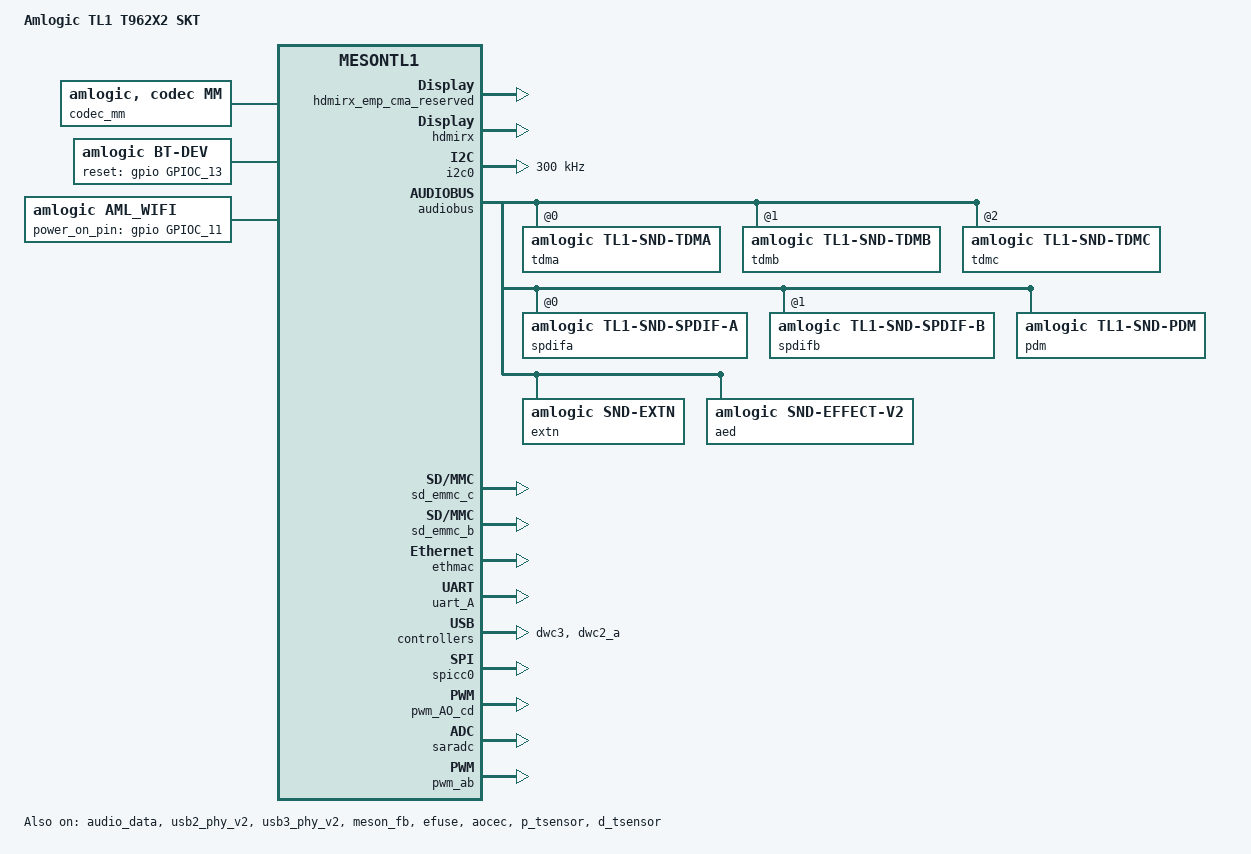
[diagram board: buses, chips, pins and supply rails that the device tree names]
/*
 * arch/arm/boot/dts/amlogic/tl1_t962x2_skt.dts
 *
 * Copyright (C) 2018 Amlogic, Inc. All rights reserved.
 *
 * This program is free software; you can redistribute it and/or modify
 * it under the terms of the GNU General Public License as published by
 * the Free Software Foundation; either version 2 of the License, or
 * (at your option) any later version.
 *
 * This program is distributed in the hope that it will be useful, but WITHOUT
 * ANY WARRANTY; without even the implied warranty of MERCHANTABILITY or
 * FITNESS FOR A PARTICULAR PURPOSE.  See the GNU General Public License for
 * more details.
 *
 */

/dts-v1/;

#include "mesontl1.dtsi"
#include "partition_mbox_normal_P_32.dtsi"
#include "mesontl1_skt-panel.dtsi"

/ {
	model = "Amlogic TL1 T962X2 SKT";
	amlogic-dt-id = "tl1_t962x2_skt";
	compatible = "amlogic, tl1_t962x2_skt";

	aliases {
		serial0 = &uart_AO;
		serial1 = &uart_A;
		serial2 = &uart_B;
		serial3 = &uart_C;
		serial4 = &uart_AO_B;
		tsensor0 = &p_tsensor;
		tsensor1 = &d_tsensor;
		i2c0 = &i2c0;
		i2c1 = &i2c1;
		i2c2 = &i2c2;
		i2c3 = &i2c3;
		i2c4 = &i2c_AO;
	};

	memory@00000000 {
		device_type = "memory";
		linux,usable-memory = <0x100000 0x7ff00000>;
	};

	reserved-memory {
		#address-cells = <1>;
		#size-cells = <1>;
		ranges;
		/* global autoconfigured region for contiguous allocations */
		secmon_reserved: linux,secmon {
			compatible = "shared-dma-pool";
			reusable;
			size = <0x400000>;
			alignment = <0x400000>;
			alloc-ranges = <0x05000000 0x400000>;
		};

		codec_mm_cma:linux,codec_mm_cma {
			compatible = "shared-dma-pool";
			reusable;
			/* ion_codec_mm max can alloc size 80M*/
			size = <0x13400000>;
			alignment = <0x400000>;
			linux,contiguous-region;
			alloc-ranges = <0x12000000 0x13400000>;
		};

		/* codec shared reserved */
		codec_mm_reserved:linux,codec_mm_reserved {
			compatible = "amlogic, codec-mm-reserved";
			size = <0x0>;
			alignment = <0x100000>;
			//no-map;
		};

		logo_reserved:linux,meson-fb {
			compatible = "shared-dma-pool";
			reusable;
			size = <0x800000>;
			alignment = <0x400000>;
			alloc-ranges = <0x7f800000 0x800000>;
		};

		ion_cma_reserved:linux,ion-dev {
			compatible = "shared-dma-pool";
			reusable;
			size = <0x8000000>;
			alignment = <0x400000>;
		};

		/*  vdin0 CMA pool */
		//vdin0_cma_reserved:linux,vdin0_cma {
		//	compatible = "shared-dma-pool";
		//	reusable;
			/* 3840x2160x4x4 ~=128 M */
		//	size = <0xc400000>;
		//	alignment = <0x400000>;
		//};

		/*  vdin1 CMA pool */
		vdin1_cma_reserved:linux,vdin1_cma {
			compatible = "shared-dma-pool";
			reusable;
			/* 1920x1080x2x4  =16 M */
			size = <0x1400000>;
			alignment = <0x400000>;
		};

		/* for hdmi rx emp use */
		hdmirx_emp_cma_reserved:linux,emp_cma {
			compatible = "shared-dma-pool";
			/*linux,phandle = <5>;*/
			reusable;
			/* 4M for emp to ddr */
			/* 32M for tmds to ddr */
			size = <0x2000000>;
			alignment = <0x400000>;
			/* alloc-ranges = <0x400000 0x2000000>; */
		};

		/* POST PROCESS MANAGER */
		ppmgr_reserved:linux,ppmgr {
			compatible = "amlogic, ppmgr_memory";
			size = <0x0>;
		};
	}; /* end of reserved-memory */

	codec_mm {
		compatible = "amlogic, codec, mm";
		status = "okay";
		memory-region = <&codec_mm_cma &codec_mm_reserved>;
	};

	ppmgr {
		compatible = "amlogic, ppmgr";
		memory-region = <&ppmgr_reserved>;
		status = "okay";
	};

	vout {
		compatible = "amlogic, vout";
		status = "okay";
		fr_auto_policy = <0>;
	};

	/* Audio Related start */
	pdm_codec:dummy {
		#sound-dai-cells = <0>;
		compatible = "amlogic, pdm_dummy_codec";
		status = "okay";
	};

	dummy_codec:dummy {
		#sound-dai-cells = <0>;
		compatible = "amlogic, aml_dummy_codec";
		status = "okay";
	};

	tl1_codec:codec {
		#sound-dai-cells = <0>;
		compatible = "amlogic, tl1_acodec";
		status = "disabled";
		reg = <0xff632000 0x1c>;
		tdmout_index = <1>;
	};

	auge_sound {
		compatible = "amlogic, tl1-sound-card";
		aml-audio-card,name = "AML-AUGESOUND";

		aml-audio-card,dai-link@0 {
			format = "i2s";
			mclk-fs = <256>;
			//continuous-clock;
			//bitclock-inversion;
			//frame-inversion;
			/* master mode */
			bitclock-master = <&tdma>;
			frame-master = <&tdma>;
			/* slave mode */
			/*
			 * bitclock-master = <&tdmacodec>;
			 * frame-master = <&tdmacodec>;
			 */
			/* suffix-name, sync with android audio hal used for */
			suffix-name = "alsaPORT-pcm";
			tdmacpu: cpu {
				sound-dai = <&tdma>;
				dai-tdm-slot-tx-mask =
							<1 1>;
				dai-tdm-slot-rx-mask =
							<1 1>;
				dai-tdm-slot-num = <2>;
				dai-tdm-slot-width = <32>;
				system-clock-frequency = <12288000>;
			};
			tdmacodec: codec {
				sound-dai = <&dummy_codec>;
			};
		};

		aml-audio-card,dai-link@1 {
			format = "i2s";
			mclk-fs = <256>;
			//continuous-clock;
			//bitclock-inversion;
			//frame-inversion;
			/* master mode */
			bitclock-master = <&tdmb>;
			frame-master = <&tdmb>;
			/* slave mode */
			//bitclock-master = <&tdmbcodec>;
			//frame-master = <&tdmbcodec>;
			/* suffix-name, sync with android audio hal used for */
			suffix-name = "alsaPORT-i2s";
			cpu {
				sound-dai = <&tdmb>;
				dai-tdm-slot-tx-mask = <1 1>;
				dai-tdm-slot-rx-mask = <1 1>;
				dai-tdm-slot-num = <2>;
				/*
				 * dai-tdm-slot-tx-mask =
				 *	<1 1 1 1 1 1 1 1>;
				 * dai-tdm-slot-rx-mask =
				 *	<1 1 1 1 1 1 1 1>;
				 * dai-tdm-slot-num = <8>;
				 */
				dai-tdm-slot-width = <32>;
				system-clock-frequency = <12288000>;
			};
			tdmbcodec: codec {
				sound-dai = <&dummy_codec>;
			};
		};

		aml-audio-card,dai-link@2 {
			format = "i2s";
			mclk-fs = <256>;
			//continuous-clock;
			//bitclock-inversion;
			//frame-inversion;
			/* master mode */
			bitclock-master = <&tdmc>;
			frame-master = <&tdmc>;
			/* slave mode */
			//bitclock-master = <&tdmccodec>;
			//frame-master = <&tdmccodec>;
			/* suffix-name, sync with android audio hal used for */
			//suffix-name = "alsaPORT-tdm";
			cpu {
				sound-dai = <&tdmc>;
				dai-tdm-slot-tx-mask = <1 1>;
				dai-tdm-slot-rx-mask = <1 1>;
				dai-tdm-slot-num = <2>;
				dai-tdm-slot-width = <32>;
				system-clock-frequency = <12288000>;
			};
			tdmccodec: codec {
				sound-dai = <&dummy_codec>;
			};
		};

		aml-audio-card,dai-link@3 {
			mclk-fs = <64>;
			/* suffix-name, sync with android audio hal used for */
			suffix-name = "alsaPORT-pdm";
			cpu {
				sound-dai = <&pdm>;
			};
			codec {
				sound-dai = <&pdm_codec>;
			};
		};

		aml-audio-card,dai-link@4 {
			mclk-fs = <128>;
			/* suffix-name, sync with android audio hal used for */
			suffix-name = "alsaPORT-spdif";
			cpu {
				sound-dai = <&spdifa>;
				system-clock-frequency = <6144000>;
			};
			codec {
				sound-dai = <&dummy_codec>;
			};
		};

		aml-audio-card,dai-link@5 {
			mclk-fs = <128>;
			cpu {
				sound-dai = <&spdifb>;
				system-clock-frequency = <6144000>;
			};
			codec {
				sound-dai = <&dummy_codec>;
			};
		};

		aml-audio-card,dai-link@6 {
			mclk-fs = <256>;
			cpu {
				sound-dai = <&extn>;
				system-clock-frequency = <12288000>;
			};
			codec {
				sound-dai = <&dummy_codec>;
			};
		};

	};

	/* Audio Related end */
	dvb {
		compatible = "amlogic, dvb";
		status = "okay";
		fe0_mode = "internal";
		fe0_tuner = <&tuner>;

		/*"parallel","serial","disable"*/
		ts2 = "parallel";
		ts2_control = <0>;
		ts2_invert = <0>;
		interrupts = <0 23 1
				0 5 1
				0 53 1
				0 19 1
				0 25 1
				0 17 1>;
		interrupt-names = "demux0_irq",
				"demux1_irq",
				"demux2_irq",
				"dvr0_irq",
				"dvr1_irq",
				"dvr2_irq";
		clocks = <&clkc CLKID_DEMUX
			&clkc CLKID_ASYNC_FIFO
			&clkc CLKID_AHB_ARB0
		/*&clkc CLKID_DOS_PARSER>;*/
		&clkc CLKID_U_PARSER>;
		clock-names = "demux", "asyncfifo", "ahbarb0", "uparsertop";
	};

	tvafe_avin_detect {
		compatible = "amlogic, tl1_tvafe_avin_detect";
		status = "okay";
		device_mask = <1>;/*bit0:ch1;bit1:ch2*/
		interrupts = <0 12 1>,
				<0 13 1>;
	};

	amlvecm {
		compatible = "amlogic, vecm";
		dev_name = "aml_vecm";
		status = "okay";
		gamma_en = <1>;/*1:enabel ;0:disable*/
		wb_en = <1>;/*1:enabel ;0:disable*/
		cm_en = <1>;/*1:enabel ;0:disable*/
		wb_sel = <1>;/*1:mtx ;0:gainoff*/
		vlock_en = <1>;/*1:enable;0:disable*/
		vlock_mode = <0x4>;
		/* vlock work mode:
		 *bit0:auto ENC
		 *bit1:auto PLL
		 *bit2:manual PLL
		 *bit3:manual ENC
		 *bit4:manual soft ENC
		 *bit5:manual MIX PLL ENC
		 */
		 vlock_pll_m_limit = <1>;
		 vlock_line_limit = <3>;
	};

	vdin@0 {
		compatible = "amlogic, vdin";
		/*memory-region = <&vdin0_cma_reserved>;*/
		status = "okay";
		/*bit0:(1:share with codec_mm;0:cma alone)
		 *bit8:(1:alloc in discontinus way;0:alone in continuous way)
		 */
		flag_cma = <0x101>;
		/*MByte, if 10bit disable: 64M(YUV422),
		 *if 10bit enable: 64*1.5 = 96M(YUV422)
		 *if support 4K2K-YUV444-10bit-WR:3840*2160*4*4 ~= 128M
		 *if support 4K2K-YUV422-10bit-wr:3840*2160*3*4 ~= 96M
		 *if support 4K2K-YUV422-8BIT-WR:3840*2160*2*4 ~= 64M
		 *if support 1080p-YUV422-8BIT-WR:1920*1080*2*4 ~= 16M
		 */
		cma_size = <190>;
		interrupts = <0 83 1>;
		rdma-irq = <2>;
		clocks = <&clkc CLKID_FCLK_DIV5>,
			<&clkc CLKID_VDIN_MEAS_COMP>;
		clock-names = "fclk_div5", "cts_vdin_meas_clk";
		vdin_id = <0>;
		/*vdin write mem color depth support:
		 * bit0:support 8bit
		 * bit1:support 9bit
		 * bit2:support 10bit
		 * bit3:support 12bit
		 * bit4:support yuv422 10bit full pack mode (from txl new add)
		 * bit8:use 8bit  at 4k_50/60hz_10bit
		 * bit9:use 10bit at 4k_50/60hz_10bit
		 */
		tv_bit_mode = <0x215>;
		/* afbce_bit_mode: (amlogic frame buff compression encoder)
		 * 0: normal mode, not use afbce
		 * 1: use afbce non-mmu mode
		 * 2: use afbce mmu mode
		 */
		afbce_bit_mode = <0>;
	};

	vdin@1 {
		compatible = "amlogic, vdin";
		memory-region = <&vdin1_cma_reserved>;
		status = "okay";
		/*bit0:(1:share with codec_mm;0:cma alone)
		 *bit8:(1:alloc in discontinus way;0:alone in continuous way)
		 */
		flag_cma = <0>;
		interrupts = <0 85 1>;
		rdma-irq = <4>;
		clocks = <&clkc CLKID_FCLK_DIV5>,
			<&clkc CLKID_VDIN_MEAS_COMP>;
		clock-names = "fclk_div5", "cts_vdin_meas_clk";
		vdin_id = <1>;
		/*vdin write mem color depth support:
		 *bit0:support 8bit
		 *bit1:support 9bit
		 *bit2:support 10bit
		 *bit3:support 12bit
		 */
		tv_bit_mode = <0x15>;
	};

	unifykey {
		compatible = "amlogic, unifykey";
		status = "okay";

		unifykey-num = <19>;
		unifykey-index-0 = <&keysn_0>;
		unifykey-index-1 = <&keysn_1>;
		unifykey-index-2 = <&keysn_2>;
		unifykey-index-3 = <&keysn_3>;
		unifykey-index-4 = <&keysn_4>;
		unifykey-index-5 = <&keysn_5>;
		unifykey-index-6 = <&keysn_6>;
		unifykey-index-7 = <&keysn_7>;
		unifykey-index-8 = <&keysn_8>;
		unifykey-index-9 = <&keysn_9>;
		unifykey-index-10= <&keysn_10>;
		unifykey-index-11 = <&keysn_11>;
		unifykey-index-12 = <&keysn_12>;
		unifykey-index-13 = <&keysn_13>;
		unifykey-index-14 = <&keysn_14>;
		unifykey-index-15 = <&keysn_15>;
		unifykey-index-16 = <&keysn_16>;
		unifykey-index-17 = <&keysn_17>;
		unifykey-index-18 = <&keysn_18>;

		keysn_0: key_0{
			key-name = "usid";
			key-device = "normal";
			key-permit = "read","write","del";
		};
		keysn_1:key_1{
			key-name = "mac";
			key-device  = "normal";
			key-permit = "read","write","del";
		};
		keysn_2:key_2{
			key-name = "hdcp";
			key-device = "secure";
			key-type  = "sha1";
			key-permit = "read","write","del";
		};
		keysn_3:key_3{
			key-name = "secure_boot_set";
			key-device = "efuse";
			key-permit = "write";
		};
		keysn_4:key_4{
			key-name = "mac_bt";
			key-device = "normal";
			key-permit = "read","write","del";
			key-type  = "mac";
		};
		keysn_5:key_5{
			key-name = "mac_wifi";
			key-device = "normal";
			key-permit = "read","write","del";
			key-type  = "mac";
		};
		keysn_6:key_6{
			key-name = "hdcp2_tx";
			key-device = "normal";
			key-permit = "read","write","del";
		};
		keysn_7:key_7{
			key-name = "hdcp2_rx";
			key-device = "normal";
			key-permit = "read","write","del";
		};
		keysn_8:key_8{
			key-name = "widevinekeybox";
			key-device = "secure";
			key-type = "sha1";
			key-permit = "read","write","del";
		};
		keysn_9:key_9{
			key-name = "deviceid";
			key-device = "normal";
			key-permit = "read","write","del";
		};
		keysn_10:key_10{
			key-name = "hdcp22_fw_private";
			key-device = "secure";
			key-permit = "read","write","del";
		};
		keysn_11:key_11{
			key-name = "hdcp22_rx_private";
			key-device = "secure";
			key-permit = "read","write","del";
		};
		keysn_12:key_12{
			key-name = "hdcp22_rx_fw";
			key-device = "normal";
			key-permit = "read","write","del";
		};
		keysn_13:key_13{
			key-name = "hdcp14_rx";
			key-device = "normal";
			key-type  = "sha1";
			key-permit = "read","write","del";
		};
		keysn_14:key_14{
			key-name = "prpubkeybox";// PlayReady
			key-device = "secure";
			key-permit = "read","write","del";
		};
		keysn_15:key_15{
			key-name = "prprivkeybox";// PlayReady
			key-device = "secure";
			key-permit = "read","write","del";
		};
		keysn_16:key_16{
			key-name = "lcd";
			key-device = "normal";
			key-permit = "read","write","del";
		};
		keysn_17:key_17{
			key-name = "lcd_extern";
			key-device = "normal";
			key-permit = "read","write","del";
		};
		keysn_18:key_18{
			key-name = "backlight";
			key-device = "normal";
			key-permit = "read","write","del";
		};
	}; /* End unifykey */

	hdmirx {
		compatible = "amlogic, hdmirx_tl1";
		#address-cells=<1>;
		#size-cells=<1>;
		memory-region = <&hdmirx_emp_cma_reserved>;
		status = "okay";
		pinctrl-names = "default";
		pinctrl-0 = <&hdmirx_a_mux &hdmirx_b_mux
			&hdmirx_c_mux>;
		repeat = <0>;
		interrupts = <0 56 1>;
		clocks = <&clkc CLKID_HDMIRX_MODET_COMP>,
			   <&clkc CLKID_HDMIRX_CFG_COMP>,
			   <&clkc CLKID_HDMIRX_ACR_COMP>,
			   <&clkc CLKID_HDMIRX_METER_COMP>,
			   <&xtal>,
			   <&clkc CLKID_FCLK_DIV5>,
			   <&clkc CLKID_FCLK_DIV7>,
			   <&clkc CLKID_HDCP22_SKP_COMP>,
			   <&clkc CLKID_HDCP22_ESM_COMP>;
		//	   <&clkc CLK_AUD_PLL2FS>,
		//	   <&clkc CLK_AUD_PLL4FS>,
		//	   <&clkc CLK_AUD_OUT>;
		clock-names = "hdmirx_modet_clk",
			"hdmirx_cfg_clk",
				"hdmirx_acr_ref_clk",
				"cts_hdmirx_meter_clk",
				"xtal",
				"fclk_div5",
				"fclk_div7",
				"hdcp_rx22_skp",
				"hdcp_rx22_esm";
		//		"hdmirx_aud_pll2fs",
		//		"hdmirx_aud_pll4f",
		//		"clk_aud_out";
		hdmirx_id = <0>;
		en_4k_2_2k = <0>;
		hpd_low_cec_off = <1>;
		/* bit4: enable feature, bit3~0: port number */
		disable_port = <0x0>;
		/* MAP_ADDR_MODULE_CBUS */
		/* MAP_ADDR_MODULE_HIU */
		/* MAP_ADDR_MODULE_HDMIRX_CAPB3 */
		/* MAP_ADDR_MODULE_SEC_AHB */
		/* MAP_ADDR_MODULE_SEC_AHB2 */
		/* MAP_ADDR_MODULE_APB4 */
		/* MAP_ADDR_MODULE_TOP */
		reg = < 0x0 0x0
			0xff63C000 0x2000
			0xffe0d000 0x2000
			0x0 0x0
			0x0 0x0
			0x0 0x0
			0xff610000 0xa000>;
	};

	aocec: aocec {
		compatible = "amlogic, aocec-tl1";
		/*device_name = "aocec";*/
		status = "okay";
		vendor_name = "Amlogic"; /* Max Chars: 8	 */
		/* Refer to the following URL at:
		 * http://standards.ieee.org/develop/regauth/oui/oui.txt
		 */
		vendor_id = <0x000000>;
		product_desc = "TL1"; /* Max Chars: 16	  */
		cec_osd_string = "AML_TV"; /* Max Chars: 14    */
		port_num = <3>;
		ee_cec;
		arc_port_mask = <0x2>;
		interrupts = <0 205 1
					0 199 1>;
		interrupt-names = "hdmi_aocecb","hdmi_aocec";
		pinctrl-names = "default","hdmitx_aocecb","cec_pin_sleep";
		pinctrl-0=<&aoceca_mux>;
		pinctrl-1=<&aocecb_mux>;
		pinctrl-2=<&aoceca_mux>;
		reg = <0xFF80023c 0x4
			   0xFF800000 0x400>;
		reg-names = "ao_exit","ao";
	};

	p_tsensor: p_tsensor@ff634800 {
		compatible = "amlogic, r1p1-tsensor";
		status = "okay";
		reg = <0xff634800 0x50>,
			<0xff800268 0x4>;
		cal_type = <0x1>;
		cal_a = <324>;
		cal_b = <424>;
		cal_c = <3159>;
		cal_d = <9411>;
		rtemp = <115000>;
		interrupts = <0 35 0>;
		clocks = <&clkc CLKID_TS_CLK_COMP>; /* CLKID_TS_COMP>;*/
		clock-names = "ts_comp";
		#thermal-sensor-cells = <1>;
	};

	d_tsensor: d_tsensor@ff634c00 {
		compatible = "amlogic, r1p1-tsensor";
		status = "okay";
		reg = <0xff634c00 0x50>,
			<0xff800230 0x4>;
		cal_type = <0x1>;
		cal_a = <324>;
		cal_b = <424>;
		cal_c = <3159>;
		cal_d = <9411>;
		rtemp = <115000>;
		interrupts = <0 36 0>;
		clocks = <&clkc CLKID_TS_CLK_COMP>; /* CLKID_TS_COMP>;*/
		clock-names = "ts_comp";
		#thermal-sensor-cells = <1>;
	};

	meson_cooldev: meson-cooldev@0 {
		status = "okay";
		compatible = "amlogic, meson-cooldev";
		cooling_devices {
			cpufreq_cool_cluster0 {
				min_state = <1000000>;
				dyn_coeff = <115>;
				gpu_pp = <2>;
				cluster_id = <0>;
				node_name = "cpufreq_cool0";
				device_type = "cpufreq";
			};
			cpucore_cool_cluster0 {
				min_state = <1>;
				dyn_coeff = <0>;
				gpu_pp = <2>;
				cluster_id = <0>;
				node_name = "cpucore_cool0";
				device_type = "cpucore";
			};
			gpufreq_cool {
				min_state = <400>;
				dyn_coeff = <358>;
				gpu_pp = <2>;
				cluster_id = <0>;
				node_name = "gpufreq_cool0";
				device_type = "gpufreq";
			};
			gpucore_cool {
				min_state = <1>;
				dyn_coeff = <0>;
				gpu_pp = <2>;
				cluster_id = <0>;
				node_name = "gpucore_cool0";
				device_type = "gpucore";
			};
		};
		cpufreq_cool0:cpufreq_cool0 {
			#cooling-cells = <2>; /* min followed by max */
		};
		cpucore_cool0:cpucore_cool0 {
			#cooling-cells = <2>; /* min followed by max */
		};
		gpufreq_cool0:gpufreq_cool0 {
			#cooling-cells = <2>; /* min followed by max */
		};
		gpucore_cool0:gpucore_cool0 {
			#cooling-cells = <2>; /* min followed by max */
		};
	};/*meson cooling devices end*/

	thermal-zones {
		pll_thermal: pll_thermal {
			polling-delay = <1000>;
			polling-delay-passive = <100>;
			sustainable-power = <1410>;
			thermal-sensors = <&p_tsensor 0>;
			trips {
				pswitch_on: trip-point@0 {
					temperature = <60000>;
					hysteresis = <5000>;
					type = "passive";
				};
				pcontrol: trip-point@1 {
					temperature = <75000>;
					hysteresis = <5000>;
					type = "passive";
				};
				phot: trip-point@2 {
					temperature = <85000>;
					hysteresis = <5000>;
					type = "hot";
				};
				pcritical: trip-point@3 {
					temperature = <110000>;
					hysteresis = <1000>;
					type = "critical";
				};
			};
			cooling-maps {
				cpufreq_cooling_map {
					trip = <&pcontrol>;
					cooling-device = <&cpufreq_cool0 0 4>;
					contribution = <1024>;
				};
				gpufreq_cooling_map {
					trip = <&pcontrol>;
					cooling-device = <&gpufreq_cool0 0 4>;
					contribution = <1024>;
				};
			};
		};
		ddr_thermal: ddr_thermal {
			polling-delay = <1000>;
			polling-delay-passive = <250>;
			sustainable-power = <1460>;
			thermal-sensors = <&d_tsensor 1>;
			trips {
				dswitch_on: trip-point@0 {
					temperature = <60000>;
					hysteresis = <5000>;
					type = "passive";
				};
				dcontrol: trip-point@1 {
					temperature = <75000>;
					hysteresis = <5000>;
					type = "passive";
				};
				dhot: trip-point@2 {
					temperature = <85000>;
					hysteresis = <5000>;
					type = "hot";
				};
				dcritical: trip-point@3 {
					temperature = <110000>;
					hysteresis = <1000>;
					type = "critical";
				};
			};
		};
	};/*thermal zone end*/

	/*DCDC for MP8756GD*/
	cpu_opp_table0: cpu_opp_table0 {
		compatible = "operating-points-v2";
		opp-shared;

		opp00 {
			opp-hz = /bits/ 64 <100000000>;
			opp-microvolt = <731000>;
		};
		opp01 {
			opp-hz = /bits/ 64 <250000000>;
			opp-microvolt = <731000>;
		};
		opp02 {
			opp-hz = /bits/ 64 <500000000>;
			opp-microvolt = <731000>;
		};
		opp03 {
			opp-hz = /bits/ 64 <667000000>;
			opp-microvolt = <761000>;
		};
		opp04 {
			opp-hz = /bits/ 64 <1000000000>;
			opp-microvolt = <791000>;
		};
		opp05 {
			opp-hz = /bits/ 64 <1200000000>;
			opp-microvolt = <801000>;
		};
		opp06 {
			opp-hz = /bits/ 64 <1404000000>;
			opp-microvolt = <831000>;
		};
		opp07 {
			opp-hz = /bits/ 64 <1500000000>;
			opp-microvolt = <861000>;
		};
		opp08 {
			opp-hz = /bits/ 64 <1608000000>;
			opp-microvolt = <891000>;
		};
		opp09 {
			opp-hz = /bits/ 64 <1704000000>;
			opp-microvolt = <921000>;
		};
		opp10 {
			opp-hz = /bits/ 64 <1800000000>;
			opp-microvolt = <981000>;
		};
		opp11 {
			opp-hz = /bits/ 64 <1908000000>;
			opp-microvolt = <1011000>;
		};
	};

	cpufreq-meson {
		compatible = "amlogic, cpufreq-meson";
		pinctrl-names = "default";
		pinctrl-0 = <&pwm_ao_d_pins3>;
		status = "okay";
	};

	tuner: tuner {
		status = "okay";
		tuner_name = "mxl661_tuner";
		tuner_i2c_adap = <&i2c0>;
		tuner_i2c_addr = <0x60>;
		tuner_xtal = <1>; /* 0: 16MHz, 1: 24MHz */
		tuner_xtal_mode = <3>;
					/* NO_SHARE_XTAL(0)
					 * SLAVE_XTAL_SHARE(3)
					 */
		tuner_xtal_cap = <25>; /* when tuner_xtal_mode = 3, set 25 */
	};

	bt-dev{
		compatible = "amlogic, bt-dev";
		status = "okay";
		gpio_reset = <&gpio       GPIOC_13       GPIO_ACTIVE_HIGH>;
	};

	wifi{
		compatible = "amlogic, aml_wifi";
		status = "okay";
		interrupt_pin = <&gpio       GPIOC_12       GPIO_ACTIVE_HIGH>;
		irq_trigger_type = "GPIO_IRQ_LOW";
		dhd_static_buf;    //dhd_static_buf support
		power_on_pin = <&gpio       GPIOC_11       GPIO_ACTIVE_HIGH>;
		pinctrl-names = "default";
		pinctrl-0 = <&pwm_b_pins1>;
		pwm_config = <&wifi_pwm_conf>;
	};

	wifi_pwm_conf:wifi_pwm_conf{
		pwm_channel1_conf {
			pwms = <&pwm_ab MESON_PWM_1 30040 0>;
			duty-cycle = <15020>;
			times = <8>;
		};
		pwm_channel2_conf {
			pwms = <&pwm_ab MESON_PWM_3 30030 0>;
			duty-cycle = <15015>;
			times = <12>;
		};
	};

}; /* end of / */

&i2c0 {
	status = "okay";
	clock-frequency = <300000>;
	pinctrl-names="default";
	pinctrl-0=<&i2c0_dv_pins>;
};

&audiobus {
	tdma:tdm@0 {
		compatible = "amlogic, tl1-snd-tdma";
		#sound-dai-cells = <0>;

		dai-tdm-lane-slot-mask-in = <1 0>;
		dai-tdm-lane-slot-mask-out = <1 0>;
		dai-tdm-clk-sel = <0>;

		clocks = <&clkaudio CLKID_AUDIO_MCLK_A
				&clkc CLKID_MPLL0>;
		clock-names = "mclk", "clk_srcpll";

		pinctrl-names = "tdm_pins";
		pinctrl-0 = <&tdma_mclk &tdmout_a &tdmin_a>;

		status = "okay";
	};

	tdmb:tdm@1 {
		compatible = "amlogic, tl1-snd-tdmb";
		#sound-dai-cells = <0>;

		dai-tdm-lane-slot-mask-in = <1 0 0 0>;
		dai-tdm-lane-slot-mask-out = <1 0 0 0>;
		dai-tdm-clk-sel = <1>;

		clocks = <&clkaudio CLKID_AUDIO_MCLK_B
				&clkc CLKID_MPLL1>;
		clock-names = "mclk", "clk_srcpll";

		status = "okay";
	};

	tdmc:tdm@2 {
		compatible = "amlogic, tl1-snd-tdmc";
		#sound-dai-cells = <0>;

		dai-tdm-lane-slot-mask-in = <1 0 0 0>;
		dai-tdm-lane-slot-mask-out = <1 0 0 0>;
		dai-tdm-clk-sel = <2>;

		clocks = <&clkaudio CLKID_AUDIO_MCLK_C
				&clkc CLKID_MPLL2>;
		clock-names = "mclk", "clk_srcpll";

		pinctrl-names = "tdm_pins";
		pinctrl-0 = <&tdmout_c &tdmin_c>;

		status = "okay";
	};

	spdifa:spdif@0 {
		compatible = "amlogic, tl1-snd-spdif-a";
		#sound-dai-cells = <0>;

		clocks = <&clkc CLKID_MPLL0
				&clkc CLKID_FCLK_DIV4
				&clkaudio CLKID_AUDIO_GATE_SPDIFIN
				&clkaudio CLKID_AUDIO_GATE_SPDIFOUT_A
				&clkaudio CLKID_AUDIO_SPDIFIN
				&clkaudio CLKID_AUDIO_SPDIFOUT_A>;
		clock-names = "sysclk", "fixed_clk", "gate_spdifin",
				"gate_spdifout", "clk_spdifin", "clk_spdifout";

		interrupts =
				<GIC_SPI 151 IRQ_TYPE_EDGE_RISING>;
		interrupt-names = "irq_spdifin";

		pinctrl-names = "spdif_pins";
		pinctrl-0 = <&spdifout_a &spdifin_a>;

		/*
		 * whether do asrc for pcm and resample a or b
		 * if raw data, asrc is disabled automatically
		 * 0: "Disable",
		 * 1: "Enable:32K",
		 * 2: "Enable:44K",
		 * 3: "Enable:48K",
		 * 4: "Enable:88K",
		 * 5: "Enable:96K",
		 * 6: "Enable:176K",
		 * 7: "Enable:192K",
		 */
		asrc_id = <0>;
		auto_asrc = <0>;

		status = "okay";
	};

	spdifb:spdif@1 {
		compatible = "amlogic, tl1-snd-spdif-b";
		#sound-dai-cells = <0>;

		clocks = <&clkc CLKID_MPLL0 /*CLKID_HIFI_PLL*/
				&clkaudio CLKID_AUDIO_GATE_SPDIFOUT_B
				&clkaudio CLKID_AUDIO_SPDIFOUT_B>;
		clock-names = "sysclk",
				"gate_spdifout", "clk_spdifout";

		status = "okay";
	};

	pdm:pdm {
		compatible = "amlogic, tl1-snd-pdm";
		#sound-dai-cells = <0>;

		clocks = <&clkaudio CLKID_AUDIO_GATE_PDM
			&clkc CLKID_FCLK_DIV3
			&clkc CLKID_MPLL3
			&clkaudio CLKID_AUDIO_PDMIN0
			&clkaudio CLKID_AUDIO_PDMIN1>;
		clock-names = "gate",
			"sysclk_srcpll",
			"dclk_srcpll",
			"pdm_dclk",
			"pdm_sysclk";

		pinctrl-names = "pdm_pins";
		pinctrl-0 = <&pdmin>;

		/* mode 0~4, defalut:1 */
		filter_mode = <1>;

		status = "okay";
	};

	extn:extn {
		compatible = "amlogic, snd-extn";
		#sound-dai-cells = <0>;

		interrupts =
				<GIC_SPI 158 IRQ_TYPE_EDGE_RISING>;
		interrupt-names = "irq_frhdmirx";

		status = "okay";
	};

	aed:effect {
		compatible = "amlogic, snd-effect-v2";
		#sound-dai-cells = <0>;

		clocks = <&clkaudio CLKID_AUDIO_GATE_EQDRC
			&clkc CLKID_FCLK_DIV5
			&clkaudio CLKID_AUDIO_EQDRC>;
		clock-names = "gate", "srcpll", "eqdrc";

		eq_enable = <1>;
		multiband_drc_enable = <0>;
		fullband_drc_enable = <0>;
		/*
		 * 0:tdmout_a
		 * 1:tdmout_b
		 * 2:tdmout_c
		 * 3:spdifout
		 * 4:spdifout_b
		 */
		eqdrc_module = <0>;
		/* max 0xf, each bit for one lane, usually one lane */
		lane_mask = <0x1>;
		/* max 0xff, each bit for one channel */
		channel_mask = <0x3>;

		status = "okay";
	};

	asrca: resample@0 {
		compatible = "amlogic, tl1-resample-a";
		clocks = <&clkc CLKID_MPLL3
				&clkaudio CLKID_AUDIO_MCLK_F
				&clkaudio CLKID_AUDIO_RESAMPLE_A>;
		clock-names = "resample_pll", "resample_src", "resample_clk";
		/*same with toddr_src
		 *	TDMIN_A, 0
		 *	TDMIN_B, 1
		 *	TDMIN_C, 2
		 *	SPDIFIN, 3
		 *	PDMIN,  4
		 *	NONE,
		 *	TDMIN_LB, 6
		 *	LOOPBACK, 7
		 */
		resample_module = <3>;

		status = "disabled";
	};

	asrcb: resample@1 {
		compatible = "amlogic, tl1-resample-b";

		clocks = <&clkc CLKID_MPLL3
			&clkaudio CLKID_AUDIO_MCLK_F
			&clkaudio CLKID_AUDIO_RESAMPLE_B>;
		clock-names = "resample_pll", "resample_src", "resample_clk";

		/*same with toddr_src
		 *      TDMIN_A, 0
		 *      TDMIN_B, 1
		 *      TDMIN_C, 2
		 *      SPDIFIN, 3
		 *      PDMIN,  4
		 *      NONE,
		 *      TDMIN_LB, 6
		 *      LOOPBACK, 7
		 */
		resample_module = <3>;

		status = "disabled";
	};

}; /* end of audiobus */

&pinctrl_periphs {
	/* audio pin mux */

	tdma_mclk: tdma_mclk {
		mux { /* GPIOZ_0 */
			groups = "mclk0_z";
			function = "mclk0";
		};
	};

	tdmout_a: tdmout_a {
		mux { /* GPIOZ_1, GPIOZ_2, GPIOZ_3, GPIOZ_5, GPIOZ_6 */
			groups = "tdma_sclk_z",
				"tdma_fs_z",
				"tdma_dout0_z",
				"tdma_dout2_z",
				"tdma_dout3_z";
			function = "tdma_out";
		};
	};

	tdmin_a: tdmin_a {
		mux { /* GPIOZ_9 */
			groups = "tdma_din2_z";
			function = "tdma_in";
		};
	};
#if 0 //verify tdm/i2s in
	tdmin_a: tdmin_a {
		mux { /* GPIOZ_7 */
			groups = "tdma_din0_z";
			function = "tdma_in";
		};
	};
#endif
	tdmout_c: tdmout_c {
		mux { /* GPIODV_7, GPIODV_8, GPIODV_9 */
			groups = "tdmc_sclk",
				"tdmc_fs",
				"tdmc_dout0";
			function = "tdmc_out";
		};
	};

	tdmin_c: tdmin_c {
		mux { /* GPIODV_10 */
			groups = "tdmc_din1";
			function = "tdmc_in";
		};
	};

	spdifin_a: spdifin_a {
		mux { /* GPIODV_5 */
			groups = "spdif_in";
			function = "spdif_in";
		};
	};

	spdifout_a: spdifout_a {
		mux { /* GPIODV_4 */
			groups = "spdif_out_dv4";
			function = "spdif_out";
		};
	};

	pdmin: pdmin {
		mux { /* GPIOZ_7, GPIOZ_8, pdm_din2_z4 */
			groups = "pdm_dclk_z",
				"pdm_din0_z",
				"pdm_din2_z4";
			function = "pdm";
		};
	};


}; /* end of pinctrl_periphs */

&pinctrl_aobus {
	spdifout: spdifout {
		mux { /* gpiao_10 */
			groups = "spdif_out_ao";
			function = "spdif_out_ao";
		};
	};
};  /* end of pinctrl_aobus */

&audio_data{
	status = "okay";
};

&sd_emmc_c {
	status = "okay";
	emmc {
		caps = "MMC_CAP_8_BIT_DATA",
			 "MMC_CAP_MMC_HIGHSPEED",
			 "MMC_CAP_SD_HIGHSPEED",
			 "MMC_CAP_NONREMOVABLE",
			/* "MMC_CAP_1_8V_DDR", */
			 "MMC_CAP_HW_RESET",
			 "MMC_CAP_ERASE",
			 "MMC_CAP_CMD23";
		caps2 = "MMC_CAP2_HS200";
		/* "MMC_CAP2_HS400";*/
		f_min = <400000>;
		f_max = <200000000>;
	};
};

&sd_emmc_b {
	status = "okay";
	sd {
		caps = "MMC_CAP_4_BIT_DATA",
			"MMC_CAP_MMC_HIGHSPEED",
			"MMC_CAP_SD_HIGHSPEED",
			"MMC_CAP_NONREMOVABLE"; /**ptm debug */
		f_min = <400000>;
		f_max = <200000000>;
	};
};

&spifc {
	status = "disabled";
	spi-nor@0 {
		cs_gpios = <&gpio BOOT_13 GPIO_ACTIVE_HIGH>;
	};
};

&slc_nand {
	status = "disabled";
	plat-names = "bootloader", "nandnormal";
	plat-num = <2>;
	plat-part-0 = <&bootloader>;
	plat-part-1 = <&nandnormal>;
	bootloader: bootloader{
		enable_pad = "ce0";
		busy_pad = "rb0";
		timming_mode = "mode5";
		bch_mode = "bch8_1k";
		t_rea = <20>;
		t_rhoh = <15>;
		chip_num = <1>;
		part_num = <0>;
		rb_detect = <1>;
	};
	nandnormal: nandnormal{
		enable_pad = "ce0";
		busy_pad = "rb0";
		timming_mode = "mode5";
		bch_mode = "bch8_1k";
		plane_mode = "twoplane";
		t_rea = <20>;
		t_rhoh = <15>;
		chip_num = <2>;
		part_num = <3>;
		partition = <&nand_partitions>;
		rb_detect = <1>;
	};
	nand_partitions:nand_partition{
		/*
		 * if bl_mode is 1, tpl size was generate by
		 * fip_copies * fip_size which
		 * will not skip bad when calculating
		 * the partition size;
		 *
		 * if bl_mode is 0,
		 * tpl partition must be comment out.
		 */
		tpl{
			offset=<0x0 0x0>;
			size=<0x0 0x0>;
		};
		logo{
			offset=<0x0 0x0>;
			size=<0x0 0x200000>;
		};
		recovery{
			offset=<0x0 0x0>;
			size=<0x0 0x1000000>;
		};
		boot{
			offset=<0x0 0x0>;
			size=<0x0 0x1000000>;
		};
		system{
			offset=<0x0 0x0>;
			size=<0x0 0x4000000>;
		};
		data{
			offset=<0xffffffff 0xffffffff>;
			size=<0x0 0x0>;
		};
	};
};

&ethmac {
	status = "okay";
	pinctrl-names = "internal_eth_pins";
	pinctrl-0 = <&internal_eth_pins>;
	mc_val = <0x4be04>;

	internal_phy=<1>;
};

&uart_A {
	status = "okay";
};

&dwc3 {
	status = "okay";
};

&usb2_phy_v2 {
	status = "okay";
	portnum = <3>;
};

&usb3_phy_v2 {
	status = "okay";
	portnum = <0>;
	otg = <0>;
};

&dwc2_a {
	status = "okay";
	/** 0: normal, 1: otg+dwc3 host only, 2: otg+dwc3 device only*/
	controller-type = <1>;
};

&spicc0 {
	status = "okay";
	pinctrl-names = "default";
	pinctrl-0 = <&spicc0_pins_h>;
	cs-gpios = <&gpio GPIOH_20 0>;
};

&meson_fb {
	status = "okay";
	display_size_default = <1920 1080 1920 2160 32>;
	mem_size = <0x00800000 0x1980000 0x100000 0x800000>;
	logo_addr = "0x7f800000";
	mem_alloc = <0>;
	pxp_mode = <0>; /** 0:normal mode 1:pxp mode */
};

&pwm_AO_cd {
	status = "okay";
};

&saradc {
	status = "okay";
};

&pwm_ab {
	status = "okay";
};

&efuse {
	status = "okay";
};
